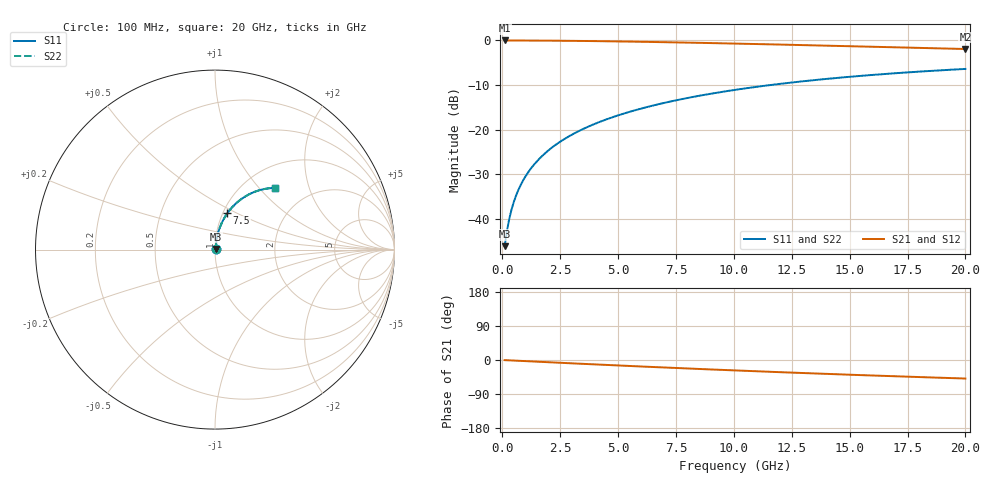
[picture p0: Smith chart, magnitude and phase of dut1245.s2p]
! Touchstone file exported from HFSS 2024.1.0
!  File:  C:/UserFiles/LocalFiles/RDL_TSV_Batchsim/temp_RDL_top_1245_1780241204.aedt
!  Generated:  11:28:58 PM May 31, 2026
!  Design:  RDL_top
!  Project:  temp_RDL_top_1245_1780241204
!  Setup:  Setup1
!  Solution:  Sweep
! Variables:
!  dtsv = 10.80580581um
!  hbump = 3um
!  htsv = 91.41um
!  ldown = 100um
!  lrdl = 692.41um
!  p = 40
!  p1 = 46.73um
!  rhole = 1um
!  t = 450um
!  tdown = 3.915915916um
!  trdl = 4.52um
!  wdown = 15.38538539um
!  wrdl = 14.19um
# GHz S MA R 50.000000
! Terminal data exported
! Port[1] = Box2_T1
! Port[2] = Box2_T2
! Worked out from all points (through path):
!   200 points, 100 MHz to 20 GHz, reference 50 ohm
!   highest |S21| = -0.03 dB at 100 MHz (marker M1); lowest = -1.9 dB at 20 GHz (marker M2)
!   group delay of S21, straight-line fit = 6.78 ps
!   lowest |S11| = -46.1 dB at 100 MHz (marker M3), VSWR 1.01, Z = 50.4 + j0.311 ohm
!   |S11| at or under -10 dB: start of sweep to 11.6 GHz
!   |S22| runs from -46.1 to -6.4 dB; largest |S21 - S12| = 7.8e-15
!   S11 on the Smith chart (normalised r, x): 100 MHz: 1.01, +0.01; 7.5 GHz: 1.05, +0.44; 20 GHz: 1.37, +1.22
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0.1  0.004968 38.3  0.9961 -0.3  0.9961 -0.3  0.004968 38.3
! Gamma 0 0 0 0
! Port Impedance 50 0 50 0
0.2  0.007323 56.6  0.996 -0.6  0.996 -0.6  0.007323 56.6
0.3  0.01001 65.2  0.9958 -0.9  0.9958 -0.9  0.01001 65.2
0.4  0.01279 69.9  0.9956 -1.2  0.9956 -1.2  0.01279 69.9
0.5  0.01561 73.0  0.9955 -1.5  0.9955 -1.5  0.01561 73.0
0.6  0.01845 75.0  0.9953 -1.8  0.9953 -1.8  0.01845 75.0
0.8  0.02417 77.6  0.9949 -2.4  0.9949 -2.4  0.02417 77.6
1.1  0.03281 79.6  0.9943 -3.3  0.9943 -3.3  0.03281 79.6
1.5  0.04438 80.6  0.9931 -4.4  0.9931 -4.4  0.04438 80.6
1.8  0.05307 80.8  0.9921 -5.3  0.9921 -5.3  0.05307 80.8
2.1  0.06176 80.8  0.9909 -6.2  0.9909 -6.2  0.06176 80.8
2.7  0.07909 80.3  0.988 -7.9  0.988 -7.9  0.07909 80.3
3.5  0.1021 79.1  0.9832 -10.2  0.9832 -10.2  0.102 79.1
4.2  0.122 77.9  0.9783 -12.2  0.9783 -12.2  0.122 77.9
5  0.1445 76.4  0.9719 -14.4  0.9719 -14.4  0.1445 76.4
5.9  0.1695 74.6  0.9639 -16.9  0.9639 -16.9  0.1695 74.6
6.8  0.1942 72.8  0.9551 -19.3  0.9551 -19.3  0.1941 72.8
7.5  0.213 71.3  0.9479 -21.1  0.9479 -21.1  0.213 71.3
10.1  0.2801 65.8  0.9188 -27.6  0.9188 -27.6  0.2801 65.8
13.4  0.357 58.8  0.8789 -35.3  0.8789 -35.3  0.357 58.8
16.7  0.4231 52.2  0.8383 -42.4  0.8383 -42.4  0.4231 52.2
20  0.4783 46.0  0.799 -48.9  0.799 -48.9  0.4782 46.0
